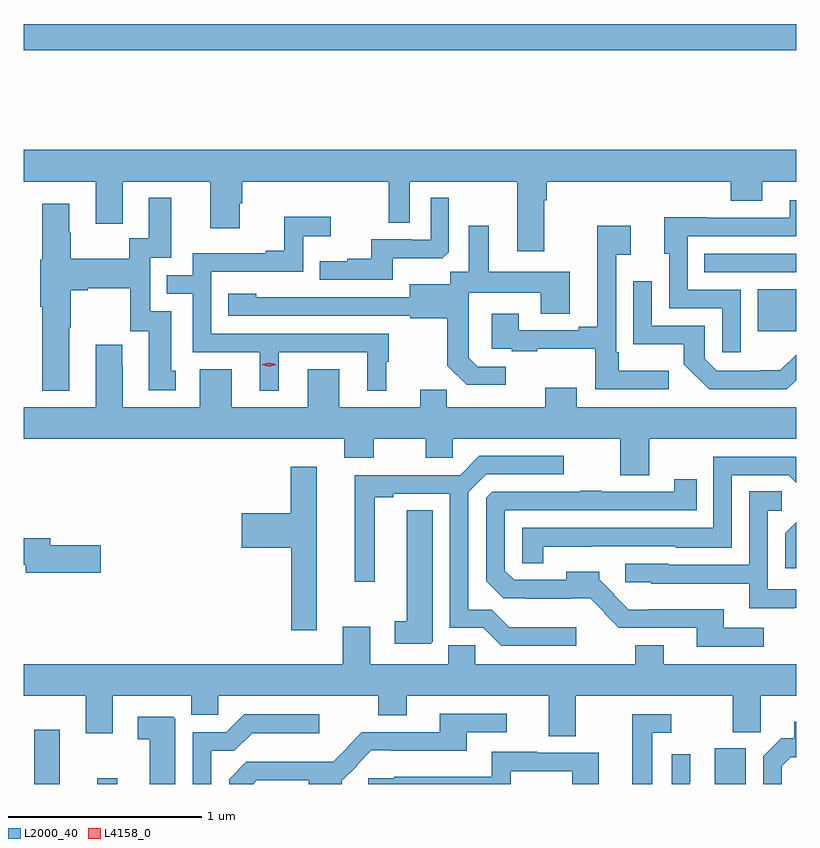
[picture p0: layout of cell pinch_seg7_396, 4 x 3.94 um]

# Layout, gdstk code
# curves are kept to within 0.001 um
import gdstk
lib = gdstk.Library(unit=1e-6, precision=1e-09)
def R(c, l, rs):  # rectangles x0, y0, x1, y1
    for r in rs: c.add(gdstk.rectangle(r[:2], r[2:], *l))
def P(c, l, *ps):  # polygons
    for p in ps: c.add(gdstk.Polygon(p, *l))
L2000_40 = (2000, 40)
L4158_0 = (4158, 0)

pinch_seg7_396 = lib.new_cell('pinch_seg7_396')
R(pinch_seg7_396, L2000_40, [(621.377,1032.128,621.508,1032.409), (621.704,1032.128,621.808,1032.157), (624.902,1032.128,625.063,1032.312), (625.124,1034.474,625.323,1034.689), (624.847,1034.778,625.323,1034.874), (621.323,1035.928,625.323,1036.064)])
P(pinch_seg7_396, L2000_40, [(624.019,1035.152),(624.032,1035.152),(624.032,1035.248),(624.983,1035.248),(624.983,1035.149),(625.147,1035.149),(625.147,1035.248),(625.323,1035.248),(625.323,1035.412),(621.323,1035.412),(621.323,1035.248),(621.695,1035.248),(621.695,1035.03),(621.835,1035.03),(621.835,1035.248),(622.289,1035.248),(622.289,1035.006),(622.441,1035.006),(622.441,1035.135),(622.454,1035.135),(622.454,1035.248),(623.214,1035.248),(623.214,1035.034),(623.322,1035.034),(623.322,1035.248),(623.879,1035.248),(623.879,1034.886),(624.019,1034.886)],
  [(623.233,1034.852),(623.491,1034.852),(623.523,1034.883),(623.523,1035.163),(623.43,1035.163),(623.43,1034.946),(623.33,1034.946),(623.33,1034.949),(623.123,1034.949),(623.123,1034.848),(622.999,1034.848),(622.999,1034.836),(622.855,1034.836),(622.855,1034.739),(623.233,1034.739)],
  [(621.559,1034.491),(621.567,1034.491),(621.567,1034.684),(621.655,1034.684),(621.655,1034.696),(621.875,1034.696),(621.875,1034.472),(621.971,1034.472),(621.971,1034.166),(622.111,1034.166),(622.111,1034.268),(622.087,1034.268),(622.087,1034.577),(621.978,1034.577),(621.978,1034.853),(622.087,1034.853),(622.087,1035.163),(621.971,1035.163),(621.971,1034.954),(621.87,1034.954),(621.87,1034.848),(621.567,1034.848),(621.567,1034.982),(621.559,1034.982),(621.559,1035.132),(621.419,1035.132),(621.419,1034.844),(621.407,1034.844),(621.407,1034.6),(621.419,1034.6),(621.419,1034.165),(621.559,1034.165)],
  [(625.035,1034.688),(624.762,1034.688),(624.762,1034.964),(625.323,1034.964),(625.323,1035.151),(625.289,1035.151),(625.289,1035.06),(624.859,1035.06),(624.859,1035.062),(624.641,1035.062),(624.641,1034.874),(624.666,1034.874),(624.666,1034.592),(624.939,1034.592),(624.939,1034.364),(625.035,1034.364)],
  [(622.642,1034.364),(623.102,1034.364),(623.102,1034.165),(623.2,1034.165),(623.2,1034.316),(623.212,1034.316),(623.212,1034.46),(622.293,1034.46),(622.293,1034.781),(622.77,1034.781),(622.77,1034.966),(622.912,1034.966),(622.912,1035.065),(622.672,1035.065),(622.672,1034.89),(622.577,1034.89),(622.577,1034.877),(622.197,1034.877),(622.197,1034.763),(622.063,1034.763),(622.063,1034.667),(622.197,1034.667),(622.197,1034.364),(622.544,1034.364),(622.544,1034.165),(622.642,1034.165)],
  [(624.664,1034.269),(624.403,1034.269),(624.403,1034.365),(624.39,1034.365),(624.39,1034.87),(624.466,1034.87),(624.466,1035.019),(624.293,1035.019),(624.293,1034.497),(624.197,1034.497),(624.197,1034.478),(623.887,1034.478),(623.887,1034.563),(623.747,1034.563),(623.747,1034.382),(623.851,1034.382),(623.851,1034.37),(623.983,1034.37),(623.983,1034.381),(624.282,1034.381),(624.282,1034.172),(624.664,1034.172)],
  [(623.818,1034.289),(623.673,1034.289),(623.626,1034.336),(623.626,1034.431),(623.628,1034.431),(623.628,1034.672),(623.999,1034.672),(623.999,1034.563),(624.151,1034.563),(624.151,1034.782),(623.731,1034.782),(623.731,1035.019),(623.627,1035.019),(623.627,1034.78),(623.532,1034.78),(623.532,1034.716),(623.321,1034.716),(623.321,1034.649),(622.527,1034.65),(622.527,1034.668),(622.383,1034.668),(622.383,1034.553),(623.325,1034.553),(623.325,1034.541),(623.517,1034.541),(623.517,1034.295),(623.617,1034.195),(623.818,1034.195)],
  [(625.323,1034.22),(625.323,1034.352),(625.241,1034.27),(625.136,1034.27),(625.136,1034.268),(624.912,1034.268),(624.849,1034.331),(624.849,1034.502),(624.576,1034.502),(624.576,1034.731),(624.48,1034.731),(624.48,1034.405),(624.742,1034.405),(624.742,1034.303),(624.872,1034.172),(625.275,1034.172)],
  [(624.561,1033.916),(625.323,1033.916),(625.323,1034.08),(624.187,1034.08),(624.187,1034.179),(624.023,1034.179),(624.023,1034.08),(623.513,1034.08),(623.513,1034.171),(623.375,1034.171),(623.375,1034.08),(622.957,1034.08),(622.957,1034.275),(622.793,1034.275),(622.793,1034.08),(622.399,1034.08),(622.399,1034.275),(622.235,1034.275),(622.235,1034.08),(621.835,1034.08),(621.835,1034.291),(621.832,1034.291),(621.832,1034.404),(621.695,1034.404),(621.695,1034.08),(621.323,1034.08),(621.323,1033.916),(622.982,1033.916),(622.982,1033.817),(623.134,1033.817),(623.134,1033.916),(623.405,1033.916),(623.405,1033.818),(623.544,1033.818),(623.544,1033.916),(624.413,1033.916),(624.413,1033.726),(624.561,1033.726)],
  [(624.184,1032.94),(623.837,1032.94),(623.746,1033.031),(623.625,1033.031),(623.625,1033.638),(623.718,1033.731),(624.118,1033.731),(624.118,1033.827),(623.681,1033.827),(623.582,1033.728),(623.036,1033.728),(623.036,1033.176),(623.14,1033.176),(623.14,1033.612),(623.236,1033.612),(623.236,1033.632),(623.529,1033.632),(623.529,1032.936),(623.703,1032.936),(623.796,1032.843),(624.184,1032.843)],
  [(624.013,1033.358),(624.699,1033.359),(624.699,1033.352),(624.99,1033.352),(624.99,1033.728),(625.284,1033.728),(625.323,1033.689),(625.323,1033.821),(625.32,1033.824),(624.894,1033.824),(624.894,1033.455),(623.904,1033.455),(623.904,1033.27),(624.013,1033.27)],
  [(622.84,1033.771),(622.706,1033.771),(622.706,1033.53),(622.452,1033.53),(622.452,1033.352),(622.709,1033.352),(622.709,1032.924),(622.84,1032.924)],
  [(625.156,1032.936),(624.949,1032.936),(624.949,1033.033),(624.556,1033.033),(624.556,1033.031),(624.455,1033.031),(624.378,1033.107),(624.381,1033.11),(624.302,1033.189),(624.302,1033.228),(624.131,1033.228),(624.131,1033.185),(623.862,1033.185),(623.814,1033.233),(623.814,1033.545),(624.809,1033.545),(624.809,1033.705),(624.691,1033.705),(624.691,1033.641),(624.317,1033.641),(624.317,1033.646),(624.205,1033.646),(624.205,1033.641),(623.748,1033.641),(623.718,1033.611),(623.718,1033.179),(623.807,1033.09),(623.923,1033.09),(623.923,1033.088),(624.257,1033.089),(624.331,1033.015),(624.329,1033.013),(624.405,1032.936),(624.809,1032.936),(624.809,1032.84),(625.156,1032.84)],
  [(625.315,1033.041),(625.323,1033.041),(625.323,1033.137),(625.176,1033.137),(625.176,1033.542),(625.249,1033.542),(625.249,1033.643),(625.08,1033.643),(625.08,1033.263),(624.663,1033.263),(624.663,1033.269),(624.438,1033.269),(624.438,1033.173),(624.573,1033.173),(624.573,1033.166),(625.079,1033.166),(625.079,1033.037),(625.315,1033.037)],
  [(623.44,1032.865),(623.44,1033.547),(623.306,1033.547),(623.306,1032.971),(623.244,1032.971),(623.244,1032.855),(623.43,1032.855)],
  [(625.323,1033.483),(625.266,1033.426),(625.266,1033.245),(625.323,1033.245)],
  [(621.721,1033.364),(621.46,1033.364),(621.46,1033.4),(621.323,1033.4),(621.323,1033.264),(621.332,1033.264),(621.332,1033.222),(621.721,1033.222)],
  [(624.181,1032.584),(624.994,1032.584),(624.994,1032.397),(625.14,1032.397),(625.14,1032.584),(625.323,1032.584),(625.323,1032.748),(624.637,1032.748),(624.637,1032.847),(624.49,1032.847),(624.49,1032.748),(623.661,1032.748),(623.661,1032.846),(623.522,1032.846),(623.522,1032.748),(623.116,1032.748),(623.116,1032.943),(622.976,1032.943),(622.976,1032.748),(621.323,1032.748),(621.323,1032.584),(621.644,1032.584),(621.644,1032.39),(621.784,1032.39),(621.784,1032.584),(622.19,1032.584),(622.19,1032.486),(622.329,1032.486),(622.329,1032.584),(623.158,1032.584),(623.158,1032.485),(623.305,1032.485),(623.305,1032.584),(624.041,1032.584),(624.041,1032.376),(624.181,1032.376)],
  [(622.53,1032.147),(622.799,1032.147),(622.799,1032.128),(622.97,1032.128),(622.97,1032.144),(623.049,1032.222),(623.046,1032.225),(623.123,1032.302),(623.224,1032.302),(623.224,1032.299),(623.617,1032.299),(623.617,1032.396),(623.824,1032.396),(623.824,1032.492),(623.477,1032.492),(623.477,1032.396),(623.073,1032.396),(622.997,1032.319),(622.999,1032.317),(622.925,1032.244),(622.591,1032.244),(622.591,1032.242),(622.475,1032.242),(622.386,1032.153),(622.386,1032.128),(622.511,1032.128)],
  [(624.577,1032.393),(624.676,1032.393),(624.676,1032.489),(624.473,1032.489),(624.473,1032.128),(624.577,1032.128)],
  [(622.293,1032.301),(622.414,1032.301),(622.505,1032.392),(622.852,1032.392),(622.852,1032.489),(622.464,1032.489),(622.371,1032.396),(622.197,1032.396),(622.197,1032.128),(622.293,1032.128)],
  [(622.108,1032.467),(622.098,1032.477),(621.912,1032.477),(621.912,1032.361),(621.974,1032.361),(621.974,1032.128),(622.108,1032.128)],
  [(625.248,1032.219),(625.296,1032.267),(625.323,1032.267),(625.323,1032.451),(625.313,1032.451),(625.313,1032.366),(625.245,1032.366),(625.152,1032.273),(625.152,1032.128),(625.248,1032.128)],
  [(623.844,1032.195),(624.162,1032.195),(624.162,1032.128),(624.301,1032.128),(624.301,1032.291),(623.983,1032.291),(623.983,1032.295),(623.747,1032.295),(623.747,1032.166),(623.241,1032.166),(623.241,1032.159),(623.106,1032.159),(623.106,1032.128),(623.844,1032.128)],
  [(624.773,1032.136),(624.774,1032.136),(624.774,1032.283),(624.678,1032.283),(624.678,1032.128),(624.773,1032.128)])
P(pinch_seg7_396, L4158_0, [(622.593,1034.29),(622.557,1034.3),(622.557,1034.3),(622.557,1034.301),(622.593,1034.31),(622.629,1034.301),(622.629,1034.3),(622.629,1034.3)])

lib.write_gds('pinch_seg7_396.gds')
